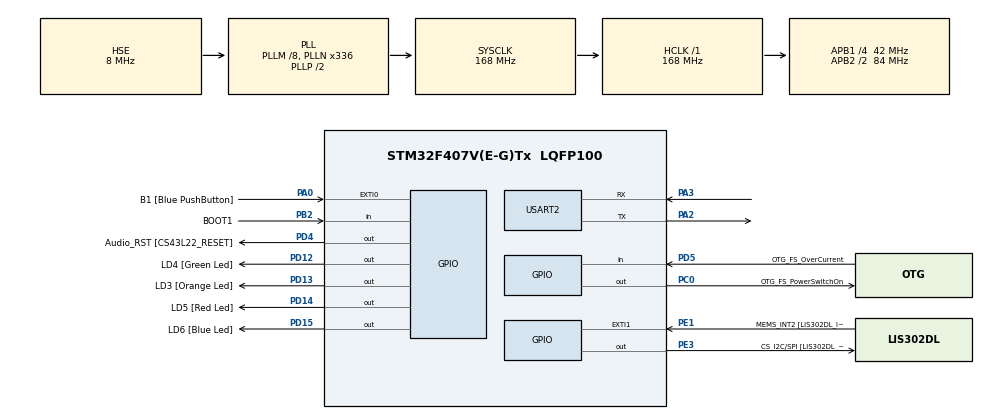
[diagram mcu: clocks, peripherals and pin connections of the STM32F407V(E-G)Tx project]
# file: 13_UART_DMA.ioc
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Dma.Request0=USART2_RX
Dma.Request1=USART2_TX
Dma.USART2_RX.0.Channel=DMA_CHANNEL_4
Dma.USART2_RX.0.Direction=DMA_PERIPH_TO_MEMORY
Dma.USART2_RX.0.FIFOMode=DMA_FIFOMODE_DISABLE
Dma.USART2_RX.0.Instance=DMA1_Stream5
Dma.USART2_RX.0.MemDataAlignment=DMA_MDATAALIGN_BYTE
Dma.USART2_RX.0.MemInc=DMA_MINC_ENABLE
Dma.USART2_RX.0.Mode=DMA_CIRCULAR
Dma.USART2_RX.0.PeriphDataAlignment=DMA_PDATAALIGN_BYTE
Dma.USART2_RX.0.PeriphInc=DMA_PINC_DISABLE
Dma.USART2_RX.0.Priority=DMA_PRIORITY_HIGH
Dma.USART2_TX.1.Channel=DMA_CHANNEL_4
Dma.USART2_TX.1.Direction=DMA_MEMORY_TO_PERIPH
Dma.USART2_TX.1.FIFOMode=DMA_FIFOMODE_DISABLE
Dma.USART2_TX.1.Instance=DMA1_Stream6
Dma.USART2_TX.1.MemDataAlignment=DMA_MDATAALIGN_BYTE
Dma.USART2_TX.1.MemInc=DMA_MINC_ENABLE
Dma.USART2_TX.1.Mode=DMA_NORMAL
Dma.USART2_TX.1.PeriphDataAlignment=DMA_PDATAALIGN_BYTE
Dma.USART2_TX.1.PeriphInc=DMA_PINC_DISABLE
Dma.USART2_TX.1.Priority=DMA_PRIORITY_HIGH
Mcu.Family=STM32F4
Mcu.Name=STM32F407V(E-G)Tx
Mcu.Package=LQFP100
NVIC.DMA1_Stream5_IRQn=true\:0\:0\:false
NVIC.DMA1_Stream6_IRQn=true\:0\:0\:false
NVIC.PriorityGroup=NVIC_PRIORITYGROUP_0
PA0-WKUP.GPIO_Label=B1 [Blue PushButton]
PA0-WKUP.GPIO_ModeDefaultEXTI=GPIO_MODE_EVT_RISING
PA0-WKUP.GPIO_PuPd=GPIO_NOPULL
PA0-WKUP.Signal=GPXTI0
PA10.GPIO_Label=OTG_FS_ID
PA10.GPIO_Mode=GPIO_MODE_AF_PP
PA10.GPIO_PuPd=GPIO_NOPULL
PA10.GPIO_Speed=GPIO_SPEED_LOW
PA10.Signal=USB_OTG_FS_ID
PA11.GPIO_Label=OTG_FS_DM
PA11.GPIO_Mode=GPIO_MODE_AF_PP
PA11.GPIO_PuPd=GPIO_NOPULL
PA11.GPIO_Speed=GPIO_SPEED_LOW
PA11.Signal=USB_OTG_FS_DM
PA12.GPIO_Label=OTG_FS_DP
PA12.GPIO_Mode=GPIO_MODE_AF_PP
PA12.GPIO_PuPd=GPIO_NOPULL
PA12.GPIO_Speed=GPIO_SPEED_LOW
PA12.Signal=USB_OTG_FS_DP
PA13.GPIO_Label=SWDIO
PA13.Mode=Trace-Asynchronous_SW
PA13.Signal=SYS_JTMS-SWDIO
PA14.GPIO_Label=SWCLK
PA14.Mode=Trace-Asynchronous_SW
PA14.Signal=SYS_JTCK-SWCLK
PA2.Mode=Asynchronous
PA2.Signal=USART2_TX
PA3.Mode=Asynchronous
PA3.Signal=USART2_RX
PA4.GPIO_Label=I2S3_WS [CS43L22_LRCK]
PA4.GPIO_Mode=GPIO_MODE_AF_PP
PA4.GPIO_PuPd=GPIO_NOPULL
PA4.GPIO_Speed=GPIO_SPEED_LOW
PA4.Signal=I2S3_WS
PA5.GPIO_Label=SPI1_SCK [LIS302DL_SCL/SPC]
PA5.GPIO_Mode=GPIO_MODE_AF_PP
PA5.GPIO_PuPd=GPIO_NOPULL
PA5.GPIO_Speed=GPIO_SPEED_LOW
PA5.Signal=SPI1_SCK
PA6.GPIO_Label=SPI1_MISO [LIS302DL_SDO]
PA6.GPIO_Mode=GPIO_MODE_AF_PP
PA6.GPIO_PuPd=GPIO_NOPULL
PA6.GPIO_Speed=GPIO_SPEED_LOW
PA6.Signal=SPI1_MISO
PA7.GPIO_Label=SPI1_MOSI [LIS302DL_SDA/SDI/SDO]
PA7.GPIO_Mode=GPIO_MODE_AF_PP
PA7.GPIO_PuPd=GPIO_NOPULL
PA7.GPIO_Speed=GPIO_SPEED_LOW
PA7.Signal=SPI1_MOSI
PA9.GPIO_Label=VBUS_FS
PA9.GPIO_Mode=GPIO_MODE_INPUT
PA9.GPIO_PuPd=GPIO_NOPULL
PA9.Signal=USB_OTG_FS_VBUS
PB10.GPIO_Label=CLK_IN [MP45DT02_CLK]
PB10.GPIO_Mode=GPIO_MODE_AF_PP
PB10.GPIO_PuPd=GPIO_NOPULL
PB10.GPIO_Speed=GPIO_SPEED_LOW
PB10.Signal=I2S2_CK
PB2.GPIO_Label=BOOT1
PB2.GPIO_Mode=GPIO_MODE_INPUT
PB2.GPIO_PuPd=GPIO_NOPULL
PB2.Signal=GPIO_Input
PB3.GPIO_Label=SWO
PB3.Mode=Trace-Asynchronous_SW
PB3.Signal=SYS_JTDO-SWO
PB6.GPIO_Label=Audio_SCL [CS43L22_SCL]
PB6.GPIO_Mode=GPIO_MODE_AF_OD
PB6.GPIO_PuPd=GPIO_NOPULL
PB6.GPIO_Speed=GPIO_SPEED_LOW
PB6.Signal=I2C1_SCL
PB9.GPIO_Label=Audio_SDA [CS43L22_SDA]
PB9.GPIO_Mode=GPIO_MODE_AF_OD
PB9.GPIO_PuPd=GPIO_NOPULL
PB9.GPIO_Speed=GPIO_SPEED_LOW
PB9.Signal=I2C1_SDA
PC0.GPIO_Label=OTG_FS_PowerSwitchOn
PC0.GPIO_PuPd=GPIO_NOPULL
PC0.GPIO_Speed=GPIO_SPEED_LOW
PC0.Signal=GPIO_Output
PC10.GPIO_Label=I2S3_SCK [CS43L22_SCLK]
PC10.GPIO_Mode=GPIO_MODE_AF_PP
PC10.GPIO_PuPd=GPIO_NOPULL
PC10.GPIO_Speed=GPIO_SPEED_LOW
PC10.Signal=I2S3_CK
PC12.GPIO_Label=I2S3_SD [CS43L22_SDIN]
PC12.GPIO_Mode=GPIO_MODE_AF_PP
PC12.GPIO_PuPd=GPIO_NOPULL
PC12.GPIO_Speed=GPIO_SPEED_LOW
PC12.Signal=I2S3_SD
PC14-OSC32_IN.GPIO_Label=PC14-OSC32_IN
PC14-OSC32_IN.Signal=RCC_OSC32_IN
PC15-OSC32_OUT.GPIO_Label=PC15-OSC32_OUT
PC15-OSC32_OUT.Signal=RCC_OSC32_OUT
PC3.GPIO_Label=PDM_OUT [MP45DT02_DOUT]
PC3.GPIO_Mode=GPIO_MODE_AF_PP
PC3.GPIO_PuPd=GPIO_NOPULL
PC3.GPIO_Speed=GPIO_SPEED_LOW
PC3.Signal=I2S2_SD
PC7.GPIO_Label=I2S3_MCK [CS43L22_MCLK]
PC7.GPIO_Mode=GPIO_MODE_AF_PP
PC7.GPIO_PuPd=GPIO_NOPULL
PC7.GPIO_Speed=GPIO_SPEED_LOW
PC7.Signal=I2S3_MCK
PD12.GPIO_Label=LD4 [Green Led]
PD12.GPIO_PuPd=GPIO_NOPULL
PD12.GPIO_Speed=GPIO_SPEED_LOW
PD12.Signal=GPIO_Output
PD13.GPIO_Label=LD3 [Orange Led]
PD13.GPIO_PuPd=GPIO_NOPULL
PD13.GPIO_Speed=GPIO_SPEED_LOW
PD13.Signal=GPIO_Output
PD14.GPIO_Label=LD5 [Red Led]
PD14.GPIO_PuPd=GPIO_NOPULL
PD14.GPIO_Speed=GPIO_SPEED_LOW
PD14.Signal=GPIO_Output
PD15.GPIO_Label=LD6 [Blue Led]
PD15.GPIO_PuPd=GPIO_NOPULL
PD15.GPIO_Speed=GPIO_SPEED_LOW
PD15.Signal=GPIO_Output
PD4.GPIO_Label=Audio_RST [CS43L22_RESET]
PD4.GPIO_PuPd=GPIO_NOPULL
PD4.GPIO_Speed=GPIO_SPEED_LOW
PD4.Signal=GPIO_Output
PD5.GPIO_Label=OTG_FS_OverCurrent
PD5.GPIO_Mode=GPIO_MODE_INPUT
PD5.GPIO_PuPd=GPIO_NOPULL
PD5.Signal=GPIO_Input
PE1.GPIO_Label=MEMS_INT2 [LIS302DL_INT2]
PE1.GPIO_ModeDefaultEXTI=GPIO_MODE_EVT_RISING
PE1.GPIO_PuPd=GPIO_NOPULL
PE1.Signal=GPXTI1
PE3.GPIO_Label=CS_I2C/SPI [LIS302DL_CS_I2C/SPI]
PE3.GPIO_PuPd=GPIO_NOPULL
PE3.GPIO_Speed=GPIO_SPEED_LOW
PE3.Signal=GPIO_Output
PH0-OSC_IN.GPIO_Label=PH0-OSC_IN
PH0-OSC_IN.Mode=HSE-External-Oscillator
PH0-OSC_IN.Signal=RCC_OSC_IN
PH1-OSC_OUT.GPIO_Label=PH1-OSC_OUT
PH1-OSC_OUT.Mode=HSE-External-Oscillator
PH1-OSC_OUT.Signal=RCC_OSC_OUT
ProjectManager.TargetToolchain=EWARM
RCC.AHBFreq_Value=168000000
RCC.APB1CLKDivider=RCC_HCLK_DIV4
RCC.APB1Freq_Value=42000000
RCC.APB1TimFreq_Value=84000000
RCC.APB2CLKDivider=RCC_HCLK_DIV2
RCC.APB2Freq_Value=84000000
RCC.APB2TimFreq_Value=168000000
RCC.CortexFreq_Value=168000000
RCC.HCLKFreq_Value=168000000
RCC.HSE_VALUE=8000000
RCC.HSI_VALUE=16000000
RCC.LSE_VALUE=32768
RCC.PLLM=8
RCC.PLLN=336
RCC.PLLQ=7
RCC.PLLSourceVirtual=RCC_PLLSOURCE_HSE
RCC.SYSCLKFreq_VALUE=168000000
RCC.SYSCLKSource=RCC_SYSCLKSOURCE_PLLCLK
RCC.VCOOutputFreq_Value=336000000
board=STM32F4DISCOVERY

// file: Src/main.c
/**
  ******************************************************************************
  * File Name          : main.c
  * Description        : Main program body
  ******************************************************************************
  *
  * COPYRIGHT(c) 2015 STMicroelectronics
  *
  * Redistribution and use in source and binary forms, with or without modification,
  * are permitted provided that the following conditions are met:
  *   1. Redistributions of source code must retain the above copyright notice,
  *      this list of conditions and the following disclaimer.
  *   2. Redistributions in binary form must reproduce the above copyright notice,
  *      this list of conditions and the following disclaimer in the documentation
  *      and/or other materials provided with the distribution.
  *   3. Neither the name of STMicroelectronics nor the names of its contributors
  *      may be used to endorse or promote products derived from this software
  *      without specific prior written permission.
  *
  * THIS SOFTWARE IS PROVIDED BY THE COPYRIGHT HOLDERS AND CONTRIBUTORS "AS IS"
  * AND ANY EXPRESS OR IMPLIED WARRANTIES, INCLUDING, BUT NOT LIMITED TO, THE
  * IMPLIED WARRANTIES OF MERCHANTABILITY AND FITNESS FOR A PARTICULAR PURPOSE ARE
  * DISCLAIMED. IN NO EVENT SHALL THE COPYRIGHT HOLDER OR CONTRIBUTORS BE LIABLE
  * FOR ANY DIRECT, INDIRECT, INCIDENTAL, SPECIAL, EXEMPLARY, OR CONSEQUENTIAL
  * DAMAGES (INCLUDING, BUT NOT LIMITED TO, PROCUREMENT OF SUBSTITUTE GOODS OR
  * SERVICES; LOSS OF USE, DATA, OR PROFITS; OR BUSINESS INTERRUPTION) HOWEVER
  * CAUSED AND ON ANY THEORY OF LIABILITY, WHETHER IN CONTRACT, STRICT LIABILITY,
  * OR TORT (INCLUDING NEGLIGENCE OR OTHERWISE) ARISING IN ANY WAY OUT OF THE USE
  * OF THIS SOFTWARE, EVEN IF ADVISED OF THE POSSIBILITY OF SUCH DAMAGE.
  *
  ******************************************************************************
  */
#include "stm32f4xx_hal.h"

UART_HandleTypeDef huart2;
DMA_HandleTypeDef hdma_usart2_rx;
DMA_HandleTypeDef hdma_usart2_tx;

/* USER CODE BEGIN PV */
/* Private variables ---------------------------------------------------------*/

/* USER CODE END PV */

void SystemClock_Config(void);
static void MX_GPIO_Init(void);
static void MX_DMA_Init(void);
static void MX_USART2_UART_Init(void);

/* USER CODE BEGIN PFP */
/* Private function prototypes -----------------------------------------------*/
void uartTransmit(char* string);
/* USER CODE END PFP */

/* USER CODE BEGIN 0 */
uint8_t uartRXBuffer[128];
uint8_t uartTXBuffer[128];
int uartTXBufferIndex = 0;
/* USER CODE END 0 */

int main(void)
{

  /* MCU Configuration----------------------------------------------------------*/

  /* Reset of all peripherals, Initializes the Flash interface and the Systick. */
  HAL_Init();

  /* Configure the system clock */
  SystemClock_Config();

  /* Initialize all configured peripherals */
  MX_GPIO_Init();
  MX_DMA_Init();
  MX_USART2_UART_Init();

  /* USER CODE BEGIN 2 */
  HAL_UART_Receive_DMA(&huart2,uartRXBuffer,128);
  HAL_UART_Transmit_DMA(&huart2,uartTXBuffer,128);
  /* USER CODE END 2 */

  /* Infinite loop */
  /* USER CODE BEGIN WHILE */
  while (1)
  {
    uartTransmit("Hello\r\n");
  HAL_Delay(500);

  /* USER CODE END WHILE */

  }

}

/** System Clock Configuration
*/
void SystemClock_Config(void)
{

  RCC_OscInitTypeDef RCC_OscInitStruct;
  RCC_ClkInitTypeDef RCC_ClkInitStruct;

  __PWR_CLK_ENABLE();

  __HAL_PWR_VOLTAGESCALING_CONFIG(PWR_REGULATOR_VOLTAGE_SCALE1);

  RCC_OscInitStruct.OscillatorType = RCC_OSCILLATORTYPE_HSE;
  RCC_OscInitStruct.HSEState = RCC_HSE_ON;
  RCC_OscInitStruct.PLL.PLLState = RCC_PLL_ON;
  RCC_OscInitStruct.PLL.PLLSource = RCC_PLLSOURCE_HSE;
  RCC_OscInitStruct.PLL.PLLM = 8;
  RCC_OscInitStruct.PLL.PLLN = 336;
  RCC_OscInitStruct.PLL.PLLP = RCC_PLLP_DIV2;
  RCC_OscInitStruct.PLL.PLLQ = 7;
  HAL_RCC_OscConfig(&RCC_OscInitStruct);

  RCC_ClkInitStruct.ClockType = RCC_CLOCKTYPE_SYSCLK|RCC_CLOCKTYPE_PCLK1
                              |RCC_CLOCKTYPE_PCLK2;
  RCC_ClkInitStruct.SYSCLKSource = RCC_SYSCLKSOURCE_PLLCLK;
  RCC_ClkInitStruct.AHBCLKDivider = RCC_SYSCLK_DIV1;
  RCC_ClkInitStruct.APB1CLKDivider = RCC_HCLK_DIV4;
  RCC_ClkInitStruct.APB2CLKDivider = RCC_HCLK_DIV2;
  HAL_RCC_ClockConfig(&RCC_ClkInitStruct, FLASH_LATENCY_5);

  HAL_SYSTICK_Config(HAL_RCC_GetHCLKFreq()/1000);

  HAL_SYSTICK_CLKSourceConfig(SYSTICK_CLKSOURCE_HCLK);

  /* SysTick_IRQn interrupt configuration */
  HAL_NVIC_SetPriority(SysTick_IRQn, 0, 0);
}

/* USART2 init function */
void MX_USART2_UART_Init(void)
{

  huart2.Instance = USART2;
  huart2.Init.BaudRate = 115200;
  huart2.Init.WordLength = UART_WORDLENGTH_8B;
  huart2.Init.StopBits = UART_STOPBITS_1;
  huart2.Init.Parity = UART_PARITY_NONE;
  huart2.Init.Mode = UART_MODE_TX_RX;
  huart2.Init.HwFlowCtl = UART_HWCONTROL_NONE;
  huart2.Init.OverSampling = UART_OVERSAMPLING_16;
  HAL_UART_Init(&huart2);

}

void MX_DMA_Init(void)
{
  /* DMA controller clock enable */
  __DMA1_CLK_ENABLE();

  /* DMA interrupt init */
  HAL_NVIC_SetPriority(DMA1_Stream5_IRQn, 0, 0);
  HAL_NVIC_EnableIRQ(DMA1_Stream5_IRQn);
  HAL_NVIC_SetPriority(DMA1_Stream6_IRQn, 0, 0);
  HAL_NVIC_EnableIRQ(DMA1_Stream6_IRQn);

}

/** Configure pins as
        * Analog
        * Input
        * Output
        * EVENT_OUT
        * EXTI
     PC3   ------> I2S2_SD
     PA4   ------> I2S3_WS
     PA5   ------> SPI1_SCK
     PA6   ------> SPI1_MISO
     PA7   ------> SPI1_MOSI
     PB10   ------> I2S2_CK
     PC7   ------> I2S3_MCK
     PA9   ------> USB_OTG_FS_VBUS
     PA10   ------> USB_OTG_FS_ID
     PA11   ------> USB_OTG_FS_DM
     PA12   ------> USB_OTG_FS_DP
     PC10   ------> I2S3_CK
     PC12   ------> I2S3_SD
     PB6   ------> I2C1_SCL
     PB9   ------> I2C1_SDA
*/
void MX_GPIO_Init(void)
{

  GPIO_InitTypeDef GPIO_InitStruct;

  /* GPIO Ports Clock Enable */
  __GPIOE_CLK_ENABLE();
  __GPIOC_CLK_ENABLE();
  __GPIOH_CLK_ENABLE();
  __GPIOA_CLK_ENABLE();
  __GPIOB_CLK_ENABLE();
  __GPIOD_CLK_ENABLE();

  /*Configure GPIO pin : CS_I2C_SPI_Pin */
  GPIO_InitStruct.Pin = CS_I2C_SPI_Pin;
  GPIO_InitStruct.Mode = GPIO_MODE_OUTPUT_PP;
  GPIO_InitStruct.Pull = GPIO_NOPULL;
  GPIO_InitStruct.Speed = GPIO_SPEED_LOW;
  HAL_GPIO_Init(CS_I2C_SPI_GPIO_Port, &GPIO_InitStruct);

  /*Configure GPIO pin : OTG_FS_PowerSwitchOn_Pin */
  GPIO_InitStruct.Pin = OTG_FS_PowerSwitchOn_Pin;
  GPIO_InitStruct.Mode = GPIO_MODE_OUTPUT_PP;
  GPIO_InitStruct.Pull = GPIO_NOPULL;
  GPIO_InitStruct.Speed = GPIO_SPEED_LOW;
  HAL_GPIO_Init(OTG_FS_PowerSwitchOn_GPIO_Port, &GPIO_InitStruct);

  /*Configure GPIO pin : PDM_OUT_Pin */
  GPIO_InitStruct.Pin = PDM_OUT_Pin;
  GPIO_InitStruct.Mode = GPIO_MODE_AF_PP;
  GPIO_InitStruct.Pull = GPIO_NOPULL;
  GPIO_InitStruct.Speed = GPIO_SPEED_LOW;
  GPIO_InitStruct.Alternate = GPIO_AF5_SPI2;
  HAL_GPIO_Init(PDM_OUT_GPIO_Port, &GPIO_InitStruct);

  /*Configure GPIO pin : B1_Pin */
  GPIO_InitStruct.Pin = B1_Pin;
  GPIO_InitStruct.Mode = GPIO_MODE_EVT_RISING;
  GPIO_InitStruct.Pull = GPIO_NOPULL;
  HAL_GPIO_Init(B1_GPIO_Port, &GPIO_InitStruct);

  /*Configure GPIO pin : PA4 */
  GPIO_InitStruct.Pin = GPIO_PIN_4;
  GPIO_InitStruct.Mode = GPIO_MODE_AF_PP;
  GPIO_InitStruct.Pull = GPIO_NOPULL;
  GPIO_InitStruct.Speed = GPIO_SPEED_LOW;
  GPIO_InitStruct.Alternate = GPIO_AF6_SPI3;
  HAL_GPIO_Init(GPIOA, &GPIO_InitStruct);

  /*Configure GPIO pins : PA5 PA6 PA7 */
  GPIO_InitStruct.Pin = GPIO_PIN_5|GPIO_PIN_6|GPIO_PIN_7;
  GPIO_InitStruct.Mode = GPIO_MODE_AF_PP;
  GPIO_InitStruct.Pull = GPIO_NOPULL;
  GPIO_InitStruct.Speed = GPIO_SPEED_LOW;
  GPIO_InitStruct.Alternate = GPIO_AF5_SPI1;
  HAL_GPIO_Init(GPIOA, &GPIO_InitStruct);

  /*Configure GPIO pin : BOOT1_Pin */
  GPIO_InitStruct.Pin = BOOT1_Pin;
  GPIO_InitStruct.Mode = GPIO_MODE_INPUT;
  GPIO_InitStruct.Pull = GPIO_NOPULL;
  HAL_GPIO_Init(BOOT1_GPIO_Port, &GPIO_InitStruct);

  /*Configure GPIO pin : CLK_IN_Pin */
  GPIO_InitStruct.Pin = CLK_IN_Pin;
  GPIO_InitStruct.Mode = GPIO_MODE_AF_PP;
  GPIO_InitStruct.Pull = GPIO_NOPULL;
  GPIO_InitStruct.Speed = GPIO_SPEED_LOW;
  GPIO_InitStruct.Alternate = GPIO_AF5_SPI2;
  HAL_GPIO_Init(CLK_IN_GPIO_Port, &GPIO_InitStruct);

  /*Configure GPIO pins : LD4_Pin LD3_Pin LD5_Pin LD6_Pin
                           Audio_RST_Pin */
  GPIO_InitStruct.Pin = LD4_Pin|LD3_Pin|LD5_Pin|LD6_Pin
                          |Audio_RST_Pin;
  GPIO_InitStruct.Mode = GPIO_MODE_OUTPUT_PP;
  GPIO_InitStruct.Pull = GPIO_NOPULL;
  GPIO_InitStruct.Speed = GPIO_SPEED_LOW;
  HAL_GPIO_Init(GPIOD, &GPIO_InitStruct);

  /*Configure GPIO pins : PC7 I2S3_SCK_Pin PC12 */
  GPIO_InitStruct.Pin = GPIO_PIN_7|I2S3_SCK_Pin|GPIO_PIN_12;
  GPIO_InitStruct.Mode = GPIO_MODE_AF_PP;
  GPIO_InitStruct.Pull = GPIO_NOPULL;
  GPIO_InitStruct.Speed = GPIO_SPEED_LOW;
  GPIO_InitStruct.Alternate = GPIO_AF6_SPI3;
  HAL_GPIO_Init(GPIOC, &GPIO_InitStruct);

  /*Configure GPIO pin : VBUS_FS_Pin */
  GPIO_InitStruct.Pin = VBUS_FS_Pin;
  GPIO_InitStruct.Mode = GPIO_MODE_INPUT;
  GPIO_InitStruct.Pull = GPIO_NOPULL;
  HAL_GPIO_Init(VBUS_FS_GPIO_Port, &GPIO_InitStruct);

  /*Configure GPIO pins : OTG_FS_ID_Pin OTG_FS_DM_Pin OTG_FS_DP_Pin */
  GPIO_InitStruct.Pin = OTG_FS_ID_Pin|OTG_FS_DM_Pin|OTG_FS_DP_Pin;
  GPIO_InitStruct.Mode = GPIO_MODE_AF_PP;
  GPIO_InitStruct.Pull = GPIO_NOPULL;
  GPIO_InitStruct.Speed = GPIO_SPEED_LOW;
  GPIO_InitStruct.Alternate = GPIO_AF10_OTG_FS;
  HAL_GPIO_Init(GPIOA, &GPIO_InitStruct);

  /*Configure GPIO pin : OTG_FS_OverCurrent_Pin */
  GPIO_InitStruct.Pin = OTG_FS_OverCurrent_Pin;
  GPIO_InitStruct.Mode = GPIO_MODE_INPUT;
  GPIO_InitStruct.Pull = GPIO_NOPULL;
  HAL_GPIO_Init(OTG_FS_OverCurrent_GPIO_Port, &GPIO_InitStruct);

  /*Configure GPIO pins : Audio_SCL_Pin Audio_SDA_Pin */
  GPIO_InitStruct.Pin = Audio_SCL_Pin|Audio_SDA_Pin;
  GPIO_InitStruct.Mode = GPIO_MODE_AF_OD;
  GPIO_InitStruct.Pull = GPIO_PULLUP;
  GPIO_InitStruct.Speed = GPIO_SPEED_LOW;
  GPIO_InitStruct.Alternate = GPIO_AF4_I2C1;
  HAL_GPIO_Init(GPIOB, &GPIO_InitStruct);

  /*Configure GPIO pin : MEMS_INT2_Pin */
  GPIO_InitStruct.Pin = MEMS_INT2_Pin;
  GPIO_InitStruct.Mode = GPIO_MODE_EVT_RISING;
  GPIO_InitStruct.Pull = GPIO_NOPULL;
  HAL_GPIO_Init(MEMS_INT2_GPIO_Port, &GPIO_InitStruct);

}

/* USER CODE BEGIN 4 */

void HAL_UART_TxCpltCallback(UART_HandleTypeDef * huart){

}
void uartTransmit(char * string){
	int i=0;
	HAL_UART_DMAPause(&huart2);
	while(string[i] != 0){
		uartTXBuffer[i] = string[i];
		i++;
	}
	HAL_UART_DMAResume(&huart2);
}

/* USER CODE END 4 */

/************************ (C) COPYRIGHT STMicroelectronics *****END OF FILE****/
